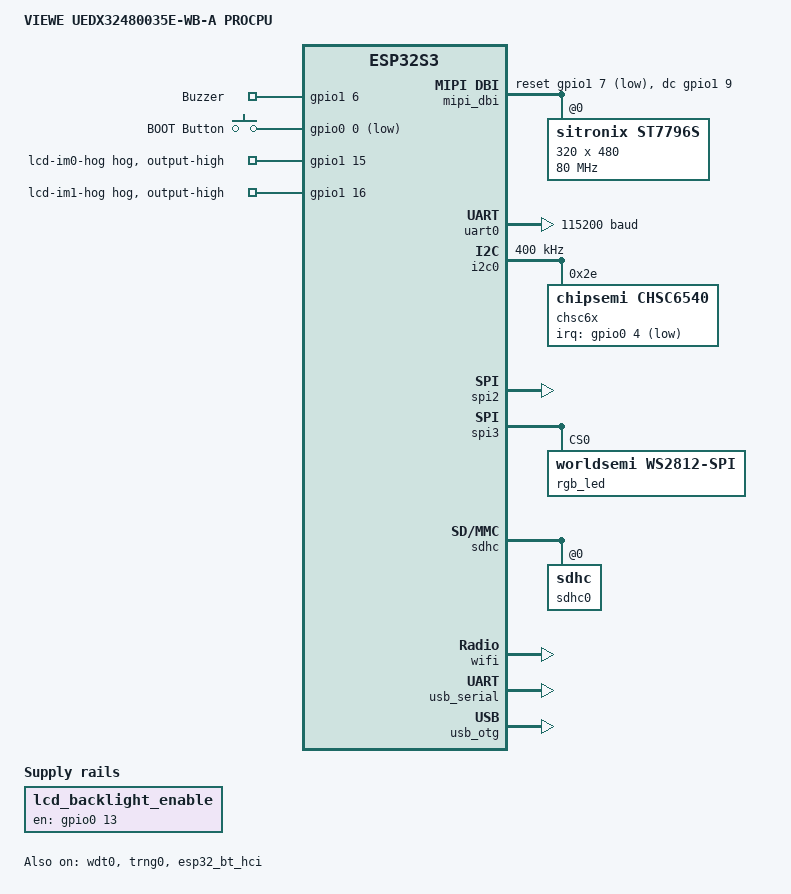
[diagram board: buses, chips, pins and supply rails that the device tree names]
/*
 * Copyright (c) 2024-2025 Espressif Systems (Shanghai) Co., Ltd.
 * Copyright (c) 2026 VIEWE Display Co., Ltd.
 *
 * SPDX-License-Identifier: Apache-2.0
 */

/dts-v1/;

#include <zephyr/dt-bindings/led/led.h>
#include <zephyr/dt-bindings/led/worldsemi_ws2812c.h>
#include <zephyr/dt-bindings/display/panel.h>
#include <zephyr/dt-bindings/mipi_dbi/mipi_dbi.h>
#include <zephyr/dt-bindings/input/input-event-codes.h>
#include <espressif/esp32s3/esp32s3_wroom_n16r8.dtsi>
#include <espressif/partitions_0x0_amp_16M.dtsi>
#include "uedx32480035e_wb_a-pinctrl.dtsi"

/ {
	model = "VIEWE UEDX32480035E-WB-A PROCPU";
	compatible = "viewe,uedx32480035e_wb_a", "espressif,esp32s3";

	chosen {
		zephyr,sram = &sram1;
		zephyr,console = &usb_serial;
		zephyr,shell-uart = &usb_serial;
		zephyr,flash = &flash0;
		zephyr,code-partition = &slot0_partition;
		zephyr,bt-hci = &esp32_bt_hci;
		zephyr,display = &st7796s;
		zephyr,touch = &chsc6x;
		zephyr,sdhc = &sdhc0;
	};

	aliases {
		led0 = &buzzer;
		led-strip = &rgb_led;
		sw0 = &button;
		watchdog0 = &wdt0;
		sdhc0 = &sdhc0;
	};

	leds {
		compatible = "gpio-leds";

		buzzer: buzzer {
			gpios = <&gpio1 6 GPIO_ACTIVE_HIGH>;
			label = "Buzzer";
		};
	};

	keys: keys {
		compatible = "gpio-keys";
		debounce-interval-ms = <10>;

		button: button {
			gpios = <&gpio0 0 (GPIO_ACTIVE_LOW | GPIO_PULL_UP)>;
			label = "BOOT Button";
			zephyr,code = <INPUT_KEY_0>;
		};
	};

	lcd_backlight_en {
		compatible = "regulator-fixed";
		regulator-name = "lcd_backlight_enable";
		enable-gpios = <&gpio0 13 GPIO_ACTIVE_HIGH>;  /* IO13-BL-EN */
		regulator-boot-on;
	};

	mipi_dbi {
		compatible = "zephyr,mipi-dbi-spi";
		status = "okay";
		#address-cells = <1>;
		#size-cells = <0>;
		spi-dev = <&spi2>;
		dc-gpios = <&gpio1 9 GPIO_ACTIVE_HIGH>;
		reset-gpios = <&gpio1 7 GPIO_ACTIVE_LOW>;
		write-only;

		st7796s: st7796s@0 {
			compatible = "sitronix,st7796s";
			status = "okay";
			reg = <0>;
			mipi-max-frequency = <DT_FREQ_M(80)>;
			width = <320>;
			height = <480>;
			rgb-is-inverted;
			color-invert;
			/*
			 * Vendor init sequence from BOARD_VIEWE_UEDX32480035E_WB_A.h
			 */
			bpc = [1f 50 00 20];
			pwr1 = [80 04];
			pwr2 = <0x13>;
			vcmpctl = <0x16>;
			doca = [40 8a 00 00 29 19 a5 33];
			pgc = [f0 19 20 10 11 0a 46 44 57 09 1a 1b 2a 2d];
			ngc = [f0 12 1a 0a 0c 18 45 44 56 3f 15 11 24 26];
			madctl = <0x48>;
		};
	};
};

&dma {
	status = "okay";
};

&timer0 {
	status = "disabled";
};

&timer1 {
	status = "disabled";
};

&timer2 {
	status = "disabled";
};

&timer3 {
	status = "disabled";
};

&wdt0 {
	status = "okay";
};

&trng0 {
	status = "okay";
};

&gpio0 {
	status = "okay";
};

&gpio1 {
	status = "okay";

	/*
	 * IM0 and IM1 pins select the MCU interface mode for the GC9A01.
	 * For 4-wire SPI mode: IM0=LOW, IM1=HIGH.
	 */
	lcd-im0-hog {
		gpio-hog;
		gpios = <15 GPIO_ACTIVE_HIGH>;  /* IO47 - IM0 */
		output-high;
	};

	lcd-im1-hog {
		gpio-hog;
		gpios = <16 GPIO_ACTIVE_HIGH>;  /* IO48 - IM1 */
		output-high;
	};
};

&uart0 {
	status = "okay";
	current-speed = <115200>;
	pinctrl-0 = <&uart0_default>;
	pinctrl-names = "default";
};

&i2c0 {
	status = "okay";
	clock-frequency = <I2C_BITRATE_FAST>;
	pinctrl-0 = <&i2c0_default>;
	pinctrl-names = "default";

	chsc6x: chsc6x@2e {
		status = "okay";
		compatible = "chipsemi,chsc6540";
		reg = <0x2e>;
		irq-gpios = <&gpio0 4 GPIO_ACTIVE_LOW>;
	};
};

&spi2 {
	#address-cells = <1>;
	#size-cells = <0>;
	status = "okay";
	pinctrl-0 = <&spim2_default>;
	pinctrl-names = "default";
	cs-gpios = <&gpio1 10 GPIO_ACTIVE_LOW>; /* IO42 */
};

&spi3 {
	#address-cells = <1>;
	#size-cells = <0>;
	status = "okay";
	pinctrl-0 = <&spim3_ws2812_led>;
	pinctrl-names = "default";
	line-idle-low;

	rgb_led: ws2812@0 {
		compatible = "worldsemi,ws2812-spi";
		reg = <0>;
		spi-max-frequency = <WS2812C_SPI_FREQ>;
		chain-length = <1>;
		color-mapping = <LED_COLOR_ID_GREEN>,
				<LED_COLOR_ID_RED>,
				<LED_COLOR_ID_BLUE>;
		spi-one-frame = <WS2812C_ONE_FRAME>;
		spi-zero-frame = <WS2812C_ZERO_FRAME>;
	};
};

&sdhc {
	sdhc0: sdhc@0 {
		status = "okay";
		pinctrl-0 = <&sdhc0_default>;
		pinctrl-names = "default";
		max-bus-freq = <52000000>;
		bus-width = <4>;

		mmc {
			compatible = "zephyr,sdmmc-disk";
			disk-name = "SD";
			status = "okay";
		};
	};
};

&esp32_bt_hci {
	status = "okay";
};

&wifi {
	status = "okay";
};

&usb_serial {
	status = "okay";
};

zephyr_udc0: &usb_otg {
	status = "okay";
};
